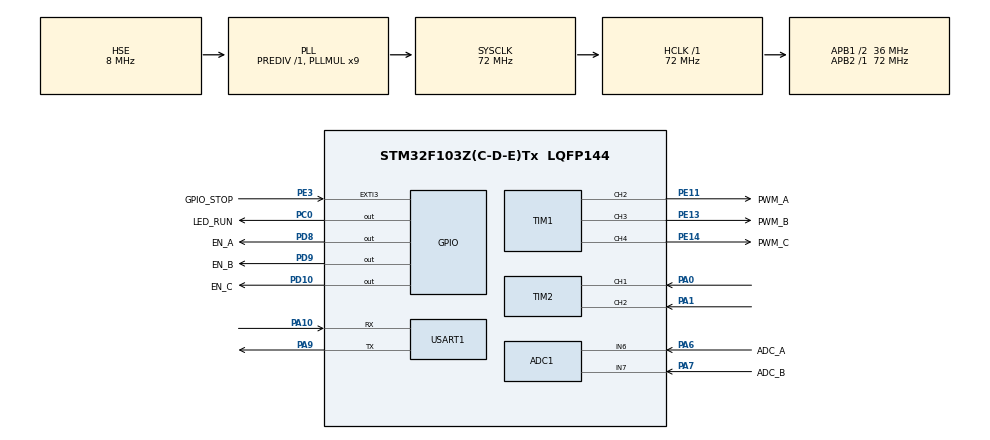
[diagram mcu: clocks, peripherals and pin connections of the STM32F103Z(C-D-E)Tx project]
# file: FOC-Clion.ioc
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ADC1.Channel-0\#ChannelRegularConversion=ADC_CHANNEL_6
ADC1.Channel-1\#ChannelRegularConversion=ADC_CHANNEL_7
ADC1.NbrOfConversion=2
ADC1.NbrOfConversionFlag=1
ADC1.Rank-0\#ChannelRegularConversion=1
ADC1.Rank-1\#ChannelRegularConversion=2
ADC1.SamplingTime-0\#ChannelRegularConversion=ADC_SAMPLETIME_1CYCLE_5
ADC1.SamplingTime-1\#ChannelRegularConversion=ADC_SAMPLETIME_1CYCLE_5
ADC1.master=1
Dma.ADC1.0.Direction=DMA_PERIPH_TO_MEMORY
Dma.ADC1.0.Instance=DMA1_Channel1
Dma.ADC1.0.MemDataAlignment=DMA_MDATAALIGN_WORD
Dma.ADC1.0.MemInc=DMA_MINC_ENABLE
Dma.ADC1.0.Mode=DMA_CIRCULAR
Dma.ADC1.0.PeriphDataAlignment=DMA_PDATAALIGN_WORD
Dma.ADC1.0.PeriphInc=DMA_PINC_DISABLE
Dma.ADC1.0.Priority=DMA_PRIORITY_HIGH
Dma.Request0=ADC1
Dma.Request1=USART1_RX
Dma.USART1_RX.1.Direction=DMA_PERIPH_TO_MEMORY
Dma.USART1_RX.1.Instance=DMA1_Channel5
Dma.USART1_RX.1.MemDataAlignment=DMA_MDATAALIGN_BYTE
Dma.USART1_RX.1.MemInc=DMA_MINC_ENABLE
Dma.USART1_RX.1.Mode=DMA_NORMAL
Dma.USART1_RX.1.PeriphDataAlignment=DMA_PDATAALIGN_BYTE
Dma.USART1_RX.1.PeriphInc=DMA_PINC_DISABLE
Dma.USART1_RX.1.Priority=DMA_PRIORITY_MEDIUM
FREERTOS.Tasks01=defaultTask,24,128,StartDefaultTask,Default,NULL,Dynamic,NULL,NULL;monitorTask,8,256,StartMonitorTask,Default,NULL,Dynamic,NULL,NULL;controlTask,40,128,StartControlTask,Default,NULL,Dynamic,NULL,NULL
FREERTOS.configTOTAL_HEAP_SIZE=10240
Mcu.Family=STM32F1
Mcu.Name=STM32F103Z(C-D-E)Tx
Mcu.Package=LQFP144
NVIC.ADC1_2_IRQn=true\:5\:0\:false\:false\:true\:true\:true\:true\:true
NVIC.DMA1_Channel1_IRQn=true\:5\:0\:false\:false\:true\:true\:false\:true\:true
NVIC.DMA1_Channel5_IRQn=true\:5\:0\:false\:false\:true\:true\:false\:true\:true
NVIC.EXTI3_IRQn=true\:5\:0\:false\:false\:true\:true\:true\:true\:true
NVIC.PriorityGroup=NVIC_PRIORITYGROUP_4
NVIC.TIM3_IRQn=true\:5\:0\:false\:false\:true\:true\:true\:true\:true
NVIC.TIM6_IRQn=true\:5\:0\:false\:false\:true\:true\:true\:true\:true
NVIC.TIM7_IRQn=true\:15\:0\:false\:false\:true\:false\:false\:true\:true
NVIC.TimeBase=TIM7_IRQn
NVIC.TimeBaseIP=TIM7
NVIC.USART1_IRQn=true\:5\:0\:false\:false\:true\:true\:true\:true\:true
OSC_IN.Mode=HSE-External-Clock-Source
OSC_IN.Signal=RCC_OSC_IN
OSC_OUT.Mode=HSE-External-Clock-Source
OSC_OUT.Signal=RCC_OSC_OUT
PA0-WKUP.Signal=S_TIM2_CH1_ETR
PA1.Signal=S_TIM2_CH2
PA10.Mode=Asynchronous
PA10.Signal=USART1_RX
PA13.Mode=Serial_Wire
PA13.Signal=SYS_JTMS-SWDIO
PA14.Mode=Serial_Wire
PA14.Signal=SYS_JTCK-SWCLK
PA6.GPIO_Label=ADC_A
PA6.Signal=ADCx_IN6
PA7.GPIO_Label=ADC_B
PA7.Signal=ADCx_IN7
PA9.Mode=Asynchronous
PA9.Signal=USART1_TX
PC0.GPIO_Label=LED_RUN
PC0.GPIO_PuPd=GPIO_NOPULL
PC0.PinState=GPIO_PIN_SET
PC0.Signal=GPIO_Output
PD10.GPIO_Label=EN_C
PD10.Signal=GPIO_Output
PD8.GPIO_Label=EN_A
PD8.Signal=GPIO_Output
PD9.GPIO_Label=EN_B
PD9.Signal=GPIO_Output
PE11.GPIO_Label=PWM_A
PE11.Signal=S_TIM1_CH2
PE13.GPIO_Label=PWM_B
PE13.Signal=S_TIM1_CH3
PE14.GPIO_Label=PWM_C
PE14.Signal=S_TIM1_CH4
PE3.GPIO_Label=GPIO_STOP
PE3.GPIO_PuPd=GPIO_PULLUP
PE3.Signal=GPXTI3
ProjectManager.HeapSize=0x200
ProjectManager.StackSize=0x400
ProjectManager.TargetToolchain=SW4STM32
RCC.ADCPresc=RCC_ADCPCLK2_DIV6
RCC.AHBFreq_Value=72000000
RCC.APB1CLKDivider=RCC_HCLK_DIV2
RCC.APB1Freq_Value=36000000
RCC.APB1TimFreq_Value=72000000
RCC.APB2Freq_Value=72000000
RCC.APB2TimFreq_Value=72000000
RCC.HCLKFreq_Value=72000000
RCC.PLLMUL=RCC_PLL_MUL9
RCC.PLLSourceVirtual=RCC_PLLSOURCE_HSE
RCC.SYSCLKFreq_VALUE=72000000
RCC.SYSCLKSource=RCC_SYSCLKSOURCE_PLLCLK
RCC.USBFreq_Value=72000000
SH.ADCx_IN6.0=ADC1_IN6,IN6
SH.ADCx_IN7.0=ADC1_IN7,IN7
SH.S_TIM1_CH2.0=TIM1_CH2,PWM Generation2 CH2
SH.S_TIM1_CH3.0=TIM1_CH3,PWM Generation3 CH3
SH.S_TIM1_CH4.0=TIM1_CH4,PWM Generation4 CH4
SH.S_TIM2_CH1_ETR.0=TIM2_CH1,Encoder_Interface
SH.S_TIM2_CH2.0=TIM2_CH2,Encoder_Interface
TIM1.Channel-PWM\ Generation1\ No\ Output=TIM_CHANNEL_1
TIM1.Channel-PWM\ Generation2\ CH2=TIM_CHANNEL_2
TIM1.Channel-PWM\ Generation3\ CH3=TIM_CHANNEL_3
TIM1.Channel-PWM\ Generation4\ CH4=TIM_CHANNEL_4
TIM1.CounterMode=TIM_COUNTERMODE_CENTERALIGNED3
TIM2.IC1Filter=15
TIM2.IC2Filter=15
TIM3.Period=7199
USART1.VirtualMode=VM_ASYNC
VP_FREERTOS_VS_CMSIS_V2.Mode=CMSIS_V2
VP_SYS_VS_tim7.Mode=TIM7
VP_TIM1_VS_no_output1.Mode=PWM Generation1 No Output
VP_TIM3_VS_ClockSourceINT.Mode=Internal
VP_TIM6_VS_ClockSourceINT.Mode=Enable_Timer
board=custom

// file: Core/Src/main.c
/* USER CODE BEGIN Header */
/**
  ******************************************************************************
  * @file           : main.c
  * @brief          : Main program body
  ******************************************************************************
  * @attention
  *
  * Copyright (c) 2022 STMicroelectronics.
  * All rights reserved.
  *
  * This software is licensed under terms that can be found in the LICENSE file
  * in the root directory of this software component.
  * If no LICENSE file comes with this software, it is provided AS-IS.
  *
  ******************************************************************************
  */
/* USER CODE END Header */
#include "main.h"
#include "cmsis_os.h"
#include "adc.h"
#include "dma.h"
#include "tim.h"
#include "usart.h"
#include "gpio.h"

/* USER CODE BEGIN Includes */
Encoder_t xencoder;
Driver3_t xdriver;
SVPWM_t xsvpwm;
Sense_t xsense;
FOC_t xfoc;
Motor_t xmotor;
PID_t xspeedPID;
PID_t xpositionPID;
PID_t xiqPID;
PID_t xidPID;
const GPIO_Pin_Info_t GPIO_EN_A = {EN_A_GPIO_Port, EN_A_Pin};
const GPIO_Pin_Info_t GPIO_EN_B = {EN_B_GPIO_Port, EN_B_Pin};
const GPIO_Pin_Info_t GPIO_EN_C = {EN_C_GPIO_Port, EN_C_Pin};

/* USER CODE END Includes */

void SystemClock_Config(void);

void MX_FREERTOS_Init(void);

int main(void)
{

    /* MCU Configuration--------------------------------------------------------*/

    /* Reset of all peripherals, Initializes the Flash interface and the Systick. */
    HAL_Init();

    /* Configure the system clock */
    SystemClock_Config();

    /* Initialize all configured peripherals */
    MX_GPIO_Init();
    MX_DMA_Init();
    MX_ADC1_Init();
    MX_TIM1_Init();
    MX_TIM2_Init();
    MX_TIM6_Init();
    MX_USART1_UART_Init();
    MX_TIM3_Init();

    /* Init scheduler */
    osKernelInitialize();  /* Call init function for freertos objects (in freertos.c) */
    MX_FREERTOS_Init();

    /* Start scheduler */
    osKernelStart();

    /* We should never get here as control is now taken by the scheduler */
    /* Infinite loop */
    while (1)
    {

    }
}

void SystemClock_Config(void)
{
    RCC_OscInitTypeDef RCC_OscInitStruct = {0};
    RCC_ClkInitTypeDef RCC_ClkInitStruct = {0};
    RCC_PeriphCLKInitTypeDef PeriphClkInit = {0};

    /** Initializes the RCC Oscillators according to the specified parameters
    * in the RCC_OscInitTypeDef structure.
    */
    RCC_OscInitStruct.OscillatorType = RCC_OSCILLATORTYPE_HSE;
    RCC_OscInitStruct.HSEState = RCC_HSE_BYPASS;
    RCC_OscInitStruct.HSEPredivValue = RCC_HSE_PREDIV_DIV1;
    RCC_OscInitStruct.HSIState = RCC_HSI_ON;
    RCC_OscInitStruct.PLL.PLLState = RCC_PLL_ON;
    RCC_OscInitStruct.PLL.PLLSource = RCC_PLLSOURCE_HSE;
    RCC_OscInitStruct.PLL.PLLMUL = RCC_PLL_MUL9;
    if (HAL_RCC_OscConfig(&RCC_OscInitStruct) != HAL_OK)
    {
        Error_Handler();
    }

    /** Initializes the CPU, AHB and APB buses clocks
    */
    RCC_ClkInitStruct.ClockType = RCC_CLOCKTYPE_HCLK | RCC_CLOCKTYPE_SYSCLK
                                  | RCC_CLOCKTYPE_PCLK1 | RCC_CLOCKTYPE_PCLK2;
    RCC_ClkInitStruct.SYSCLKSource = RCC_SYSCLKSOURCE_PLLCLK;
    RCC_ClkInitStruct.AHBCLKDivider = RCC_SYSCLK_DIV1;
    RCC_ClkInitStruct.APB1CLKDivider = RCC_HCLK_DIV2;
    RCC_ClkInitStruct.APB2CLKDivider = RCC_HCLK_DIV1;

    if (HAL_RCC_ClockConfig(&RCC_ClkInitStruct, FLASH_LATENCY_2) != HAL_OK)
    {
        Error_Handler();
    }
    PeriphClkInit.PeriphClockSelection = RCC_PERIPHCLK_ADC;
    PeriphClkInit.AdcClockSelection = RCC_ADCPCLK2_DIV6;
    if (HAL_RCCEx_PeriphCLKConfig(&PeriphClkInit) != HAL_OK)
    {
        Error_Handler();
    }
}

void HAL_TIM_PeriodElapsedCallback(TIM_HandleTypeDef *htim)
{
    /* USER CODE BEGIN Callback 0 */
    // TIM1 生成PWM波形
    // TIM2 编码器模式
    if (htim->Instance == TIM3)
    {
        // 正在测试
        // 100 tpus
        // SVPWM计算

    }

    if (htim->Instance == TIM6)
    {
        // 5 tpms
        // 编码器更新
        Encoder_Update(&xencoder);
    }
    /* USER CODE END Callback 0 */
    if (htim->Instance == TIM7)
    {
        HAL_IncTick();
    }
}

void Error_Handler(void)
{
    __disable_irq();
    while (1)
    {
    }
}

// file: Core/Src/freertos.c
/* USER CODE BEGIN Header */
/**
  ******************************************************************************
  * File Name          : freertos.c
  * Description        : Code for freertos applications
  ******************************************************************************
  * @attention
  *
  * Copyright (c) 2022 STMicroelectronics.
  * All rights reserved.
  *
  * This software is licensed under terms that can be found in the LICENSE file
  * in the root directory of this software component.
  * If no LICENSE file comes with this software, it is provided AS-IS.
  *
  ******************************************************************************
  */
/* USER CODE END Header */

#include "FreeRTOS.h"
#include "task.h"
#include "main.h"
#include "cmsis_os.h"

/* USER CODE BEGIN Includes */
#include "tim.h"
#include "adc.h"
/* USER CODE END Includes */

/* Definitions for defaultTask */
osThreadId_t defaultTaskHandle;
const osThreadAttr_t defaultTask_attributes = {
        .name = "defaultTask",
        .stack_size = 128 * 4,
        .priority = (osPriority_t) osPriorityNormal,
};
/* Definitions for monitorTask */
osThreadId_t monitorTaskHandle;
const osThreadAttr_t monitorTask_attributes = {
        .name = "monitorTask",
        .stack_size = 256 * 4,
        .priority = (osPriority_t) osPriorityLow,
};
/* Definitions for controlTask */
osThreadId_t controlTaskHandle;
const osThreadAttr_t controlTask_attributes = {
        .name = "controlTask",
        .stack_size = 128 * 4,
        .priority = (osPriority_t) osPriorityHigh,
};

void StartDefaultTask(void *argument);

void StartMonitorTask(void *argument);

void StartControlTask(void *argument);

void MX_FREERTOS_Init(void); /* (MISRA C 2004 rule 8.1) */

void Device_Init();

void MX_FREERTOS_Init(void)
{
    /* USER CODE BEGIN Init */
    Device_Init();
    /* USER CODE END Init */

    /* Create the thread(s) */
    /* creation of defaultTask */
    defaultTaskHandle = osThreadNew(StartDefaultTask, NULL, &defaultTask_attributes);

    /* creation of monitorTask */
    monitorTaskHandle = osThreadNew(StartMonitorTask, NULL, &monitorTask_attributes);

    /* creation of controlTask */
    controlTaskHandle = osThreadNew(StartControlTask, NULL, &controlTask_attributes);

}

void StartDefaultTask(void *argument)
{
    /* USER CODE BEGIN StartDefaultTask */
    /* Infinite loop */
    for (;;)
    {
        Encoder_Start(&xencoder);
        Sense_Start(&xsense);
        Driver3_Start(&xdriver);

        osThreadExit();
    }
    /* USER CODE END StartDefaultTask */
}

void StartMonitorTask(void *argument)
{
    for (;;)
    {
        osDelay(1);
    }
}

void StartControlTask(void *argument)
{
    for (;;)
    {
        osDelay(1);
    }
}

/* USER CODE BEGIN Application */
void Device_Init()
{
    Encoder_Init(&xencoder, &htim2, &htim6, 8000);

    Driver3_Init(&xdriver, &htim1, TIM_CHANNEL_2, TIM_CHANNEL_3, TIM_CHANNEL_4,
                 GPIO_EN_A, GPIO_EN_B, GPIO_EN_C);
    Driver3_Config(&xdriver, 10000);

    Sense_Init(&xsense, &hadc1, &htim1, TIM_CHANNEL_1, 3.3f);
    xsense.skip_offset = 1;

    Sense_Set_2Ch(&xsense, ADC_CHANNEL_6, ADC_CHANNEL_7, 0.01f * 50, 0.01f * 50);
    Sense_Config(&xsense,xdriver.ARR);

    Motor_Link_Encoder(&xmotor, &xencoder);
    Motor_Link_Sense(&xmotor, &xsense);
    Motor_Link_Driver3(&xmotor, &xdriver);

    Motor_Init(&xmotor, 11, 24.0f);
    xmotor.voltage_limit = 18.0f;
    xmotor.velocity_limit = 20 * _PI;

    PID_Init(&xspeedPID);
    PID_Init(&xpositionPID);
    PID_Init(&xiqPID);
    PID_Init(&xidPID);

    PID_Set_Params(&xspeedPID, DELTA_PID, 1.0f, 0, 0);
    PID_Set_Params(&xpositionPID, POSITION_PID, 0.5f, 0, 0);

    xmotor.postion_pid = xpositionPID;
    xmotor.speed_pid = xspeedPID;
    xmotor.iq_pid = xiqPID;
    xmotor.id_pid = xidPID;

    Motor_FOC_Init(&xmotor, &xfoc, &xsvpwm);

    Motor_Target_t  motor_target = {0};
    motor_target.target_val = 5 * _PI;
    motor_target.target_type = VELOCITY_TARGET;
    motor_target.control_type = VELOCITY_OPEN_CONTROL;

    Motor_Set_Target(&xmotor,motor_target);
}

void HAL_ADC_ConvCpltCallback(ADC_HandleTypeDef *hadc)
{
    Sense_Update(&xsense);

    Motor_Run(&xmotor);
}

/* USER CODE END Application */
